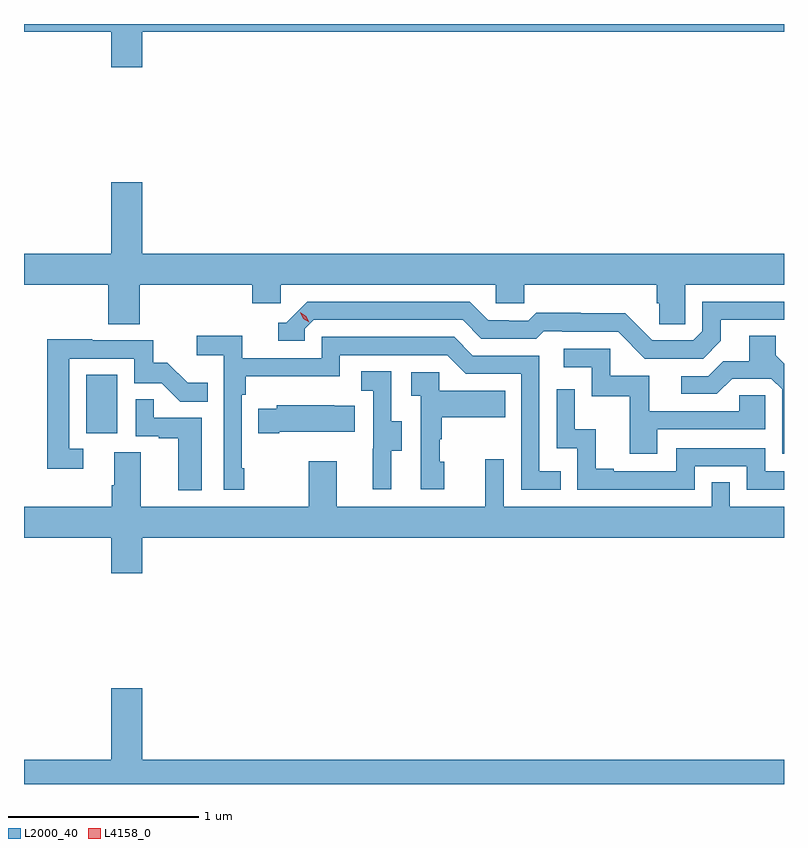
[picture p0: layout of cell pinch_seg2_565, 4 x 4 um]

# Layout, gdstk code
import gdstk
lib = gdstk.Library(unit=1e-6, precision=1e-09)
def R(c, l, rs):  # rectangles x0, y0, x1, y1
    for r in rs: c.add(gdstk.rectangle(r[:2], r[2:], *l))
def P(c, l, *ps):  # polygons
    for p in ps: c.add(gdstk.Polygon(p, *l))
L2000_40 = (2000, 40)
L4158_0 = (4158, 0)

pinch_seg2_565 = lib.new_cell('pinch_seg2_565')
R(pinch_seg2_565, L2000_40, [(1141.898,622.878,1142.062,623.185)])
P(pinch_seg2_565, L2000_40, [(1142.194,624.992),(1145.571,624.992),(1145.571,625.032),(1141.571,625.032),(1141.571,624.992),(1142.03,624.992),(1142.03,624.804),(1142.194,624.804)],
  [(1142.18,623.66),(1142.771,623.66),(1142.771,623.562),(1142.922,623.562),(1142.922,623.66),(1144.053,623.66),(1144.053,623.562),(1144.203,623.562),(1144.203,623.66),(1144.901,623.66),(1144.901,623.562),(1144.915,623.562),(1144.915,623.452),(1145.052,623.452),(1145.052,623.66),(1145.571,623.66),(1145.571,623.824),(1142.194,623.824),(1142.194,624.199),(1142.03,624.199),(1142.03,623.824),(1141.571,623.824),(1141.571,623.66),(1142.015,623.66),(1142.015,623.452),(1142.18,623.452)],
  [(1145.239,623.365),(1145.239,623.475),(1145.571,623.475),(1145.571,623.571),(1145.142,623.571),(1145.142,623.415),(1145.094,623.367),(1144.878,623.367),(1144.736,623.509),(1144.5,623.509),(1144.5,623.512),(1144.267,623.512),(1144.225,623.469),(1144.122,623.469),(1144.122,623.472),(1144.015,623.472),(1143.916,623.571),(1143.063,623.571),(1142.952,623.46),(1142.909,623.46),(1142.909,623.364),(1143.048,623.364),(1143.048,623.427),(1143.096,623.475),(1143.879,623.475),(1143.978,623.376),(1144.267,623.376),(1144.306,623.415),(1144.405,623.415),(1144.405,623.412),(1144.698,623.412),(1144.839,623.271),(1145.145,623.271)],
  [(1145.571,623.244),(1145.527,623.288),(1145.527,623.39),(1145.387,623.39),(1145.387,623.258),(1145.252,623.258),(1145.172,623.178),(1145.031,623.178),(1145.031,623.085),(1145.218,623.085),(1145.299,623.166),(1145.505,623.166),(1145.562,623.109),(1145.562,622.77),(1145.571,622.77)],
  [(1142.731,622.693),(1142.718,622.693),(1142.718,623.081),(1142.738,623.081),(1142.738,623.177),(1143.234,623.177),(1143.234,623.289),(1143.798,623.289),(1143.897,623.19),(1144.188,623.19),(1144.188,622.581),(1144.397,622.581),(1144.397,622.677),(1144.284,622.677),(1144.284,623.286),(1143.934,623.286),(1143.835,623.385),(1143.138,623.385),(1143.138,623.274),(1142.72,623.274),(1142.72,623.39),(1142.481,623.39),(1142.481,623.288),(1142.622,623.288),(1142.622,622.581),(1142.731,622.581)],
  [(1141.882,622.797),(1141.809,622.797),(1141.809,623.271),(1142.151,623.271),(1142.151,623.142),(1142.296,623.142),(1142.394,623.044),(1142.537,623.044),(1142.537,623.143),(1142.433,623.143),(1142.326,623.25),(1142.25,623.25),(1142.25,623.367),(1141.931,623.367),(1141.931,623.372),(1141.693,623.372),(1141.693,622.692),(1141.882,622.692)],
  [(1144.903,622.899),(1145.472,622.899),(1145.472,623.079),(1145.335,623.079),(1145.335,622.995),(1144.861,622.995),(1144.861,623.181),(1144.656,623.181),(1144.656,623.322),(1144.413,623.322),(1144.413,623.226),(1144.56,623.226),(1144.56,623.073),(1144.759,623.073),(1144.759,622.77),(1144.903,622.77)],
  [(1143.505,622.786),(1143.559,622.786),(1143.559,622.941),(1143.504,622.941),(1143.504,623.204),(1143.345,623.204),(1143.345,623.101),(1143.408,623.101),(1143.408,622.797),(1143.407,622.797),(1143.407,622.584),(1143.505,622.584)],
  [(1143.784,622.728),(1143.759,622.728),(1143.759,622.847),(1143.769,622.847),(1143.769,622.961),(1144.103,622.961),(1144.103,623.101),(1143.756,623.101),(1143.756,623.199),(1143.609,623.199),(1143.609,623.075),(1143.66,623.075),(1143.66,622.584),(1143.784,622.584)],
  [(1145.1,622.704),(1145.376,622.704),(1145.376,622.581),(1145.571,622.581),(1145.571,622.677),(1145.472,622.677),(1145.472,622.8),(1145.004,622.8),(1145.004,622.677),(1144.675,622.677),(1144.675,622.69),(1144.58,622.69),(1144.58,622.898),(1144.47,622.898),(1144.47,623.11),(1144.374,623.11),(1144.374,622.8),(1144.482,622.8),(1144.482,622.581),(1145.1,622.581)],
  [(1142.506,622.959),(1142.255,622.959),(1142.255,623.057),(1142.16,623.057),(1142.16,622.863),(1142.281,622.863),(1142.281,622.851),(1142.384,622.851),(1142.384,622.577),(1142.506,622.577)],
  [(1142.914,622.886),(1143.311,622.886),(1143.311,623.023),(1143.203,623.023),(1143.203,623.026),(1142.901,623.026),(1142.901,623.008),(1142.803,623.008),(1142.803,622.879),(1142.914,622.879)],
  [(1142.194,622.328),(1145.571,622.328),(1145.571,622.492),(1145.286,622.492),(1145.286,622.619),(1145.19,622.619),(1145.19,622.492),(1144.095,622.492),(1144.095,622.741),(1143.998,622.741),(1143.998,622.492),(1143.217,622.492),(1143.217,622.732),(1143.07,622.732),(1143.07,622.492),(1142.185,622.492),(1142.185,622.778),(1142.045,622.778),(1142.045,622.604),(1142.033,622.604),(1142.033,622.492),(1141.571,622.492),(1141.571,622.328),(1142.03,622.328),(1142.03,622.14),(1142.194,622.14)],
  [(1145.571,621.16),(1142.194,621.16),(1142.194,621.535),(1142.03,621.535),(1142.03,621.16),(1141.571,621.16),(1141.571,621.032),(1145.571,621.032)])
P(pinch_seg2_565, L4158_0, [(1143.073,623.462),(1143.042,623.481),(1143.026,623.514),(1143.026,623.514),(1143.026,623.514),(1143.057,623.495),(1143.073,623.462),(1143.073,623.462)])

lib.write_gds('pinch_seg2_565.gds')
